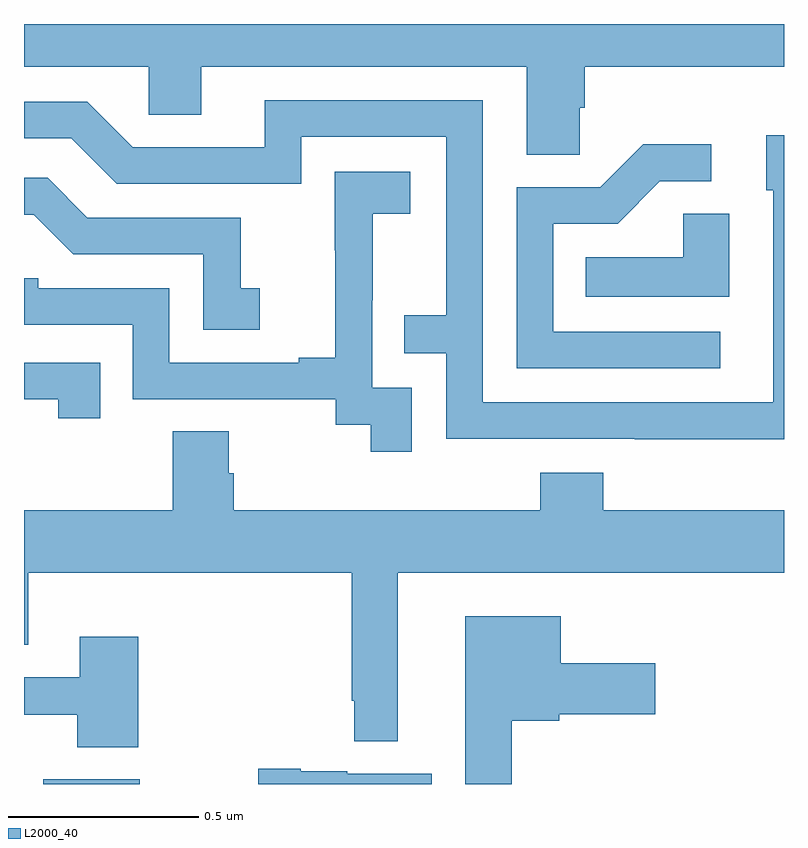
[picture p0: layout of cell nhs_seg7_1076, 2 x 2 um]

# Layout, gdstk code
import gdstk
lib = gdstk.Library(unit=1e-6, precision=1e-09)
def R(c, l, rs):  # rectangles x0, y0, x1, y1
    for r in rs: c.add(gdstk.rectangle(r[:2], r[2:], *l))
def P(c, l, *ps):  # polygons
    for p in ps: c.add(gdstk.Polygon(p, *l))
L2000_40 = (2000, 40)

nhs_seg7_1076 = lib.new_cell('nhs_seg7_1076')
R(nhs_seg7_1076, L2000_40, [(125.05,1060,125.304,1060.012)])
P(nhs_seg7_1076, L2000_40, [(126.462,1061.779),(126.476,1061.779),(126.476,1061.888),(127,1061.888),(127,1062),(125,1062),(125,1061.888),(125.328,1061.888),(125.328,1061.761),(125.467,1061.761),(125.467,1061.888),(126.323,1061.888),(126.323,1061.656),(126.462,1061.656)],
  [(127,1061.707),(126.953,1061.707),(126.953,1061.562),(126.972,1061.562),(126.972,1061.004),(126.207,1061.004),(126.207,1061.799),(125.633,1061.799),(125.633,1061.676),(125.286,1061.676),(125.166,1061.796),(125,1061.796),(125,1061.7),(125.124,1061.7),(125.244,1061.58),(125.73,1061.58),(125.73,1061.703),(126.111,1061.703),(126.111,1061.234),(126.001,1061.234),(126.001,1061.133),(126.111,1061.133),(126.111,1060.908),(126.607,1060.908),(126.607,1060.907),(127,1060.907)],
  [(126.832,1061.19),(126.393,1061.19),(126.393,1061.475),(126.562,1061.475),(126.673,1061.586),(126.808,1061.586),(126.808,1061.684),(126.629,1061.684),(126.516,1061.571),(126.297,1061.571),(126.297,1061.094),(126.832,1061.094)],
  [(126.021,1061.043),(125.916,1061.043),(125.916,1061.273),(125.918,1061.273),(125.918,1061.501),(126.016,1061.501),(126.016,1061.611),(125.818,1061.611),(125.818,1061.405),(125.819,1061.405),(125.819,1061.122),(125.723,1061.122),(125.723,1061.109),(125.382,1061.109),(125.382,1061.304),(125.037,1061.304),(125.037,1061.331),(125,1061.331),(125,1061.208),(125.286,1061.208),(125.286,1061.013),(125.82,1061.013),(125.82,1060.945),(125.913,1060.945),(125.913,1060.875),(126.021,1060.875)],
  [(125.62,1061.305),(125.571,1061.305),(125.571,1061.49),(125.167,1061.49),(125.062,1061.595),(125,1061.595),(125,1061.498),(125.026,1061.498),(125.13,1061.394),(125.472,1061.394),(125.472,1061.196),(125.62,1061.196)],
  [(126.856,1061.501),(126.735,1061.501),(126.735,1061.386),(126.478,1061.386),(126.478,1061.282),(126.856,1061.282)],
  [(125.201,1061.109),(125,1061.109),(125,1061.013),(125.09,1061.013),(125.09,1060.962),(125.201,1060.962)],
  [(125.983,1060.556),(127,1060.556),(127,1060.72),(126.524,1060.72),(126.524,1060.819),(126.359,1060.819),(126.359,1060.72),(125.552,1060.72),(125.552,1060.818),(125.539,1060.818),(125.539,1060.928),(125.392,1060.928),(125.392,1060.72),(125,1060.72),(125,1060.366),(125.011,1060.366),(125.011,1060.556),(125.862,1060.556),(125.862,1060.219),(125.869,1060.219),(125.869,1060.112),(125.983,1060.112)],
  [(126.283,1060.166),(126.408,1060.166),(126.408,1060.184),(126.661,1060.184),(126.661,1060.318),(126.412,1060.318),(126.412,1060.441),(126.161,1060.441),(126.161,1060),(126.283,1060)],
  [(125.3,1060.387),(125.147,1060.387),(125.147,1060.281),(125,1060.281),(125,1060.182),(125.14,1060.182),(125.14,1060.097),(125.3,1060.097)],
  [(126.073,1060.027),(125.85,1060.027),(125.85,1060.033),(125.728,1060.033),(125.728,1060.04),(125.616,1060.04),(125.616,1060),(126.073,1060)])

lib.write_gds('nhs_seg7_1076.gds')
